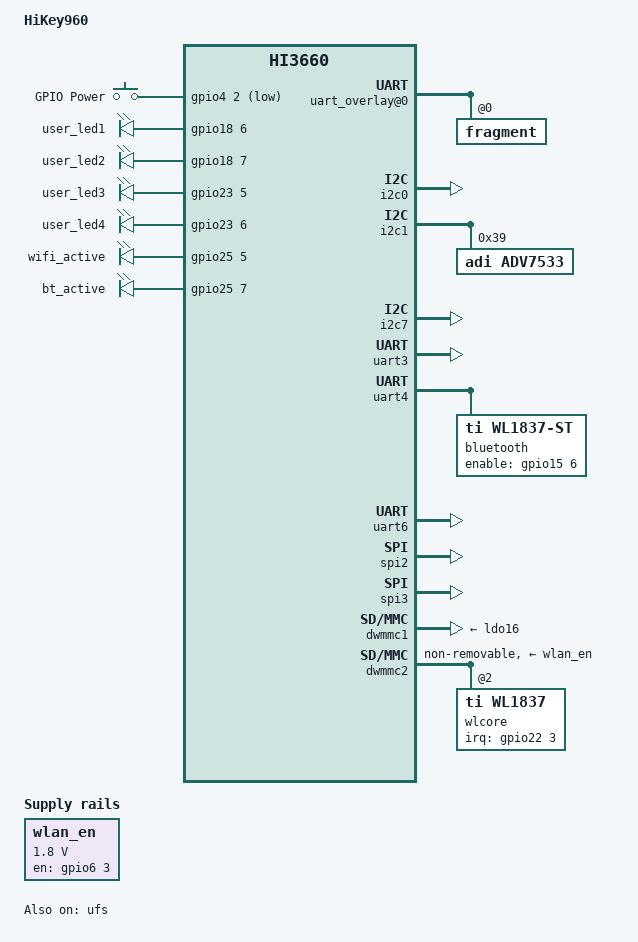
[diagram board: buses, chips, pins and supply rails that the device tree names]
// SPDX-License-Identifier: GPL-2.0
/*
 * dts file for Hisilicon HiKey960 Development Board
 *
 * Copyright (C) 2016, Hisilicon Ltd.
 *
 */

/dts-v1/;

#include "hi3660.dtsi"
#include "hikey960-pinctrl.dtsi"
#include "hi3660-gpu.dtsi"
#include "hi3660-drm.dtsi"
#include "hi3660-coresight.dtsi"

#include <dt-bindings/gpio/gpio.h>
#include <dt-bindings/input/input.h>
#include <dt-bindings/interrupt-controller/irq.h>

/ {
	model = "HiKey960";
	compatible = "hisilicon,hi3660-hikey960", "hisilicon,hi3660";

	aliases {
		mshc1 = &dwmmc1;
		mshc2 = &dwmmc2;
		serial0 = &uart0;
		serial1 = &uart1;
		serial2 = &uart2;
		serial3 = &uart3;
		serial4 = &uart4;
		serial5 = &uart5;
		serial6 = &uart6;
	};

	chosen {
		stdout-path = "serial6:115200n8";
	};

	fiq-debugger {
		compatible = "android,irq-hi6220-uart";
		reg = <0x0 0xfff32000 0x0 0x1000>;
		interrupts = <GIC_SPI 79 IRQ_TYPE_LEVEL_HIGH>;
		interrupt-names = "fiq", "signal";
	};

	uart_overlay@0 {
		fragment@0 {
			target-path="/soc/serial@fff32000";
			__overlay__ {
				status = "disabled";
			};
		};
	};

	overlay_mgr {
		compatible = "linux,overlay_manager";
		hardware_cfg_spidev0 {
			overlay_0 {
				fragment@0 {
					target-path="/soc/spi@ffd68000/spidev@0";
					__overlay__ {
						status = "ok";
					};
				};
			};
		};
		hardware_cfg_neonkey {
			overlay_0 {
				fragment@0 {
					target-path="/soc/spi@ffd68000/sensorhub@0";
					__overlay__ {
						status = "ok";
					};
				};
			};
		};
		hardware_cfg_argonkey {
			overlay_0 {
				fragment@0 {
					target-path="/soc/spi@ffd68000/argonkey@0";
					__overlay__ {
						status = "ok";
					};
				};
			};
		};
		hardware_cfg_disable_bt {
			overlay_0 {
				fragment@0 {
					target-path="/soc/serial@fdf01000/bluetooth";
					__overlay__ {
						status = "disabled";
					};
				};
			};
		};
		hardware_cfg_disable_wlan {
			overlay_0 {
				fragment@0 {
					target-path="/soc/dwmmc2@ff3ff000";
					__overlay__ {
						status = "disabled";
					};
				};
			};
		};
		hardware_cfg_enable_android_fstab {
			overlay_0 {
				fragment@0 {
					target-path="/firmware/android/fstab/system";
					__overlay__ {
						status = "ok";
					};
				};
				fragment@1 {
					target-path="/firmware/android/fstab/vendor";
					__overlay__ {
						fsmgr_flags = "wait";
						status = "ok";
					};
				};
			};
		};
		hardware_cfg_enable_android_fstab_v2 {
			overlay_0 {
				fragment@0 {
					target-path="/firmware/android/fstab/vendor";
					__overlay__ {
						status = "ok";
					};
				};
			};
		};
	};

	memory@0 {
		device_type = "memory";
		/* rewrite this at bootloader */
		reg = <0x0 0x0 0x0 0x0>;
	};

	reserved-memory {
		#address-cells = <2>;
		#size-cells = <2>;
		ranges;

		fastboot_cma: fastboot-cma-mem {
			reg = <0x0 0x16c00000 0x0 0x4000000>;
			compatible = "shared-dma-pool";
			hisi,cma-sec;
			reusable;
		};

		uefi-reboot-mode {
			reg = <0x0 0x32100000 0x0 0x00001000>;
			no-map;
		};

		bl31 {
			reg = <0x0 0x20200000 0x0 0x200000>;
			no-map;
		};

		ramoops: ramoops@20A00000 {
			compatible = "ramoops";
			reg = <0x0 0x20A00000 0x0 0x00100000>;  /* pstore/ramoops buffer */
			record-size	= <0x00020000>;
			console-size	= <0x00020000>;
			ftrace-size	= <0x00020000>;
		};

		/* global autoconfigured region for contiguous allocations */
		linux,cma {
			compatible = "shared-dma-pool";
			reg = <0x0 0x20C00000 0x0 0x4000000>;
			reusable;
			linux,cma-default;
		};
	};

	reboot-mode-syscon@32100000 {
		compatible = "syscon", "simple-mfd";
		reg = <0x0 0x32100000 0x0 0x00001000>;

		reboot-mode {
			compatible = "syscon-reboot-mode";
			offset = <0x0>;

			mode-normal	= <0x77665501>;
			mode-bootloader	= <0x77665500>;
			mode-recovery	= <0x77665502>;
		};
	};

	pclk: apb_pclk {
		compatible = "fixed-clock";
		#clock-cells = <0>;
		clock-frequency = <20000000>;
		clock-output-names = "apb_pclk";
	};

	keys {
		compatible = "gpio-keys";
		pinctrl-names = "default";
		pinctrl-0 = <&pwr_key_pmx_func &pwr_key_cfg_func>;

		power {
			wakeup-source;
			gpios = <&gpio4 2 GPIO_ACTIVE_LOW>;
			label = "GPIO Power";
			linux,code = <KEY_POWER>;
		};
	};

	leds {
		compatible = "gpio-leds";

		user_led1 {
			label = "user_led1";
			/* gpio_150_user_led1 */
			gpios = <&gpio18 6 0>;
			linux,default-trigger = "heartbeat";
		};

		user_led2 {
			label = "user_led2";
			/* gpio_151_user_led2 */
			gpios = <&gpio18 7 0>;
			linux,default-trigger = "mmc0";
		};

		user_led3 {
			label = "user_led3";
			/* gpio_189_user_led3 */
			gpios = <&gpio23 5 0>;
			default-state = "off";
		};

		user_led4 {
			label = "user_led4";
			/* gpio_190_user_led4 */
			gpios = <&gpio23 6 0>;
			linux,default-trigger = "cpu0";
		};

		wlan_active_led {
			label = "wifi_active";
			/* gpio_205_wifi_active */
			gpios = <&gpio25 5 0>;
			linux,default-trigger = "phy0tx";
			default-state = "off";
		};

		bt_active_led {
			label = "bt_active";
			gpios = <&gpio25 7 0>;
			/* gpio_207_user_led1 */
			linux,default-trigger = "hci0rx";
			default-state = "off";
		};
	};

	pmic: pmic@fff34000 {
		compatible = "hisilicon,hi6421v530-pmic";
		reg = <0x0 0xfff34000 0x0 0x1000>;
		interrupt-controller;
		#interrupt-cells = <2>;

		regulators {
			ldo3: LDO3 { /* HDMI */
				regulator-name = "VOUT3_1V85";
				regulator-min-microvolt = <1800000>;
				regulator-max-microvolt = <2200000>;
				regulator-enable-ramp-delay = <120>;
			};

			ldo9: LDO9 { /* SDCARD I/O */
				regulator-name = "VOUT9_1V8_2V95";
				regulator-min-microvolt = <1750000>;
				regulator-max-microvolt = <3300000>;
				regulator-enable-ramp-delay = <240>;
			};

			ldo11: LDO11 { /* Low Speed Connector */
				regulator-name = "VOUT11_1V8_2V95";
				regulator-min-microvolt = <1750000>;
				regulator-max-microvolt = <3300000>;
				regulator-enable-ramp-delay = <240>;
			};

			ldo15: LDO15 { /* UFS VCC */
				regulator-name = "VOUT15_3V0";
				regulator-min-microvolt = <1750000>;
				regulator-max-microvolt = <3000000>;
				regulator-boot-on;
				regulator-always-on;
				regulator-enable-ramp-delay = <120>;
			};

			ldo16: LDO16 { /* SD VDD */
				regulator-name = "VOUT16_2V95";
				regulator-min-microvolt = <1750000>;
				regulator-max-microvolt = <3000000>;
				regulator-enable-ramp-delay = <360>;
			};
		};
	};

	wlan_en: wlan-en-1-8v {
		compatible = "regulator-fixed";
		regulator-name = "wlan-en-regulator";
		regulator-min-microvolt = <1800000>;
		regulator-max-microvolt = <1800000>;

		/* GPIO_051_WIFI_EN */
		gpio = <&gpio6 3 0>;

		/* WLAN card specific delay */
		startup-delay-us = <70000>;
		enable-active-high;
	};

	firmware {
		optee {
			compatible = "linaro,optee-tz";
			method = "smc";
		};
		android {
			compatible = "android,firmware";
			fstab {
				compatible = "android,fstab";
				system {
					compatible = "android,system";
					dev = "/dev/block/platform/soc/ff3b0000.ufs/by-name/system" ;
					type = "ext4";
					mnt_flags = "ro" ;
					fsmgr_flags = "wait";
					status = "disabled";
				};
				vendor {
					compatible = "android,vendor";
					dev = "/dev/block/platform/soc/ff3b0000.ufs/by-name/vendor" ;
					type = "ext4";
					mnt_flags = "ro" ;
					fsmgr_flags = "wait,verify";
					status = "disabled";
				};
			};
		};
	};

};

&i2c0 {
	/* On Low speed expansion */
	label = "LS-I2C0";
	status = "okay";
};

&i2c1 {
	status = "okay";

	adv7533: adv7533@39 {
		status = "ok";
		compatible = "adi,adv7533";
		reg = <0x39>;
	};
};

&i2c7 {
	/* On Low speed expansion */
	label = "LS-I2C1";
	status = "okay";
};

&uart3 {
	/* On Low speed expansion */
	label = "LS-UART0";
	status = "okay";
};

&uart4 {
	status = "okay";

	bluetooth {
		compatible = "ti,wl1837-st";
		enable-gpios = <&gpio15 6 GPIO_ACTIVE_HIGH>;
		max-speed = <3000000>;
	};
};

&uart6 {
	/* On Low speed expansion */
	label = "LS-UART1";
	status = "okay";
};

&spi2 {
	/* On Low speed expansion */
	label = "LS-SPI0";
	status = "okay";

	spidev@0 {
		compatible = "rohm,dh2228fv";
		spi-max-frequency = <500000>;
		reg = <0>;
		status = "disabled";
	};

	sensorhub@0 {
		compatible = "nanohub";
		reg = <0>;
		spi-max-frequency = <500000>;
		spi-cpol;
		spi-cpha;

		sensorhub,nreset-gpio = <&gpio26 3 0>; /* Fake */
		sensorhub,boot0-gpio = <&gpio26 2 0>;  /* Fake */
		sensorhub,wakeup-gpio = <&gpio26 0 0>; /* Gpio_208 -> PB9 */
		sensorhub,irq1-gpio = <&gpio26 1 0>;   /* Gpio_209 -> PB5 */
		sensorhub,spi-cs-gpio = <&gpio27 2 0>;
		sensorhub,bl-addr = <0x08000000>;
		sensorhub,kernel-addr = <0x0800C000>;
		sensorhub,num-flash-banks = <4>;
		sensorhub,flash-banks =		<0 0x08000000 0x04000>,
						<3 0x0800C000 0x04000>,
						<4 0x08010000 0x10000>,
						<5 0x08020000 0x20000>;
		sensorhub,shared-addr = <0x08040000>;
		sensorhub,num-shared-flash-banks = <2>;
		sensorhub,shared-flash-banks =	<6 0x08040000 0x20000>,
						<7 0x08060000 0x20000>;

		status = "disabled";
	};

	argonkey@0 {
		compatible = "nanohub";
		reg = <0>;
		spi-max-frequency = <500000>;

		sensorhub,irq1-gpio = <&gpio26 0 0>;   /* Gpio_208 -> PA1 */
		sensorhub,irq2-gpio = <&gpio6 4 0>;    /* Gpio_052 -> PA3 */
		sensorhub,wakeup-gpio = <&gpio2 3 0>;  /* Gpio_019 -> PA0 */
		sensorhub,spi-cs-gpio = <&gpio27 2 0>; /* Gpio_218 */
		sensorhub,nreset-gpio = <&gpio26 3 0>; /* Gpio_211 -> Nreset */
		sensorhub,boot0-gpio = <&gpio5 0 0>;   /* Gpio_040 -> Boot0 */
		sensorhub,bl-addr = <0x08000000>;
		sensorhub,kernel-addr = <0x0800C000>;
		sensorhub,num-flash-banks = <4>;
		sensorhub,flash-banks =
			<0 0x08000000 0x04000>,
			<3 0x0800C000 0x04000>,
			<4 0x08010000 0x10000>,
			<5 0x08020000 0x20000>;
		sensorhub,shared-addr = <0x08040000>;
		sensorhub,num-shared-flash-banks = <6>;
		sensorhub,shared-flash-banks =
			<6 0x08040000 0x20000>,
			<7 0x08060000 0x20000>,
			<8 0x08080000 0x20000>,
			<9 0x080A0000 0x20000>,
			<10 0x080C0000 0x20000>,
			<11 0x080E0000 0x20000>;

		status = "disabled";
	};
};

&spi3 {
	/* On High speed expansion */
	label = "HS-SPI1";
	status = "okay";
};

&dwmmc1 {
	vmmc-supply = <&ldo16>;
	vqmmc-supply = <&ldo9>;
	status = "okay";
};

&dwmmc2 { /* WIFI */
	broken-cd;
	/* WL_EN */
	vmmc-supply = <&wlan_en>;
	ti,non-removable;
	non-removable;
	#address-cells = <0x1>;
	#size-cells = <0x0>;
	status = "ok";

	wlcore: wlcore@2 {
		compatible = "ti,wl1837";
		reg = <2>;      /* sdio func num */
		/* WL_IRQ, GPIO_179_WL_WAKEUP_AP */
		interrupt-parent = <&gpio22>;
		interrupts = <3 IRQ_TYPE_EDGE_RISING>;
	};
};

&ufs {
	ufs-hi3660-use-rate-B;
	ufs-hi3660-broken-fastauto;
	ufs-hi3660-use-HS-GEAR3;
	ufs-hi3660-broken-clk-gate-bypass;
	reset-gpio = <&gpio18 1 0>;
	status = "okay";
};
